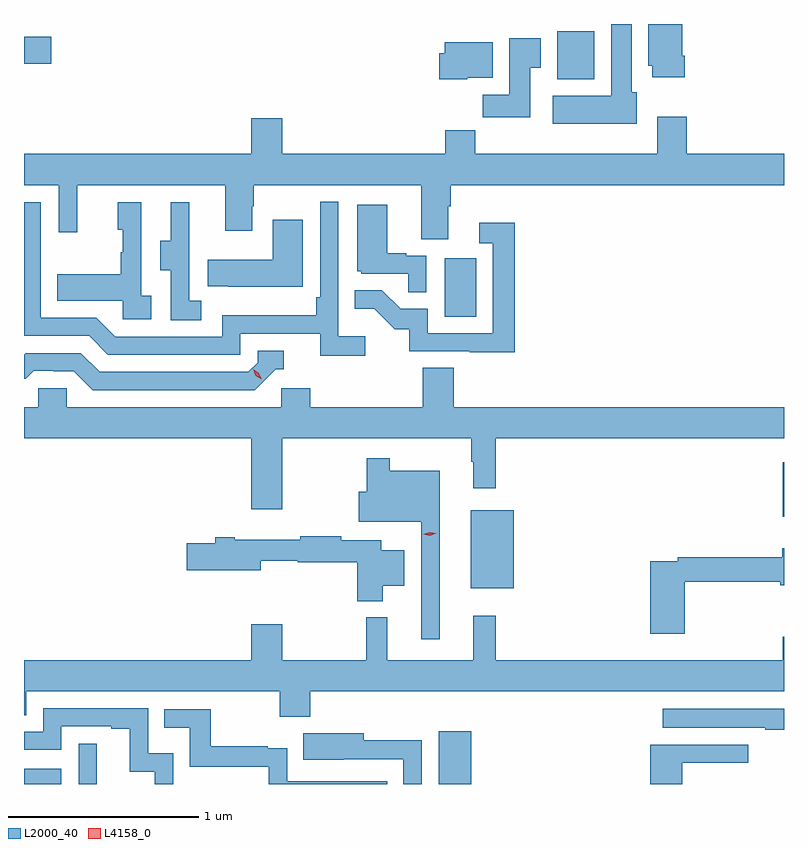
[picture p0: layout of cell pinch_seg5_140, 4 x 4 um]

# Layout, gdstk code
import gdstk
lib = gdstk.Library(unit=1e-6, precision=1e-09)
def R(c, l, rs):  # rectangles x0, y0, x1, y1
    for r in rs: c.add(gdstk.rectangle(r[:2], r[2:], *l))
def P(c, l, *ps):  # polygons
    for p in ps: c.add(gdstk.Polygon(p, *l))
L2000_40 = (2000, 40)
L4158_0 = (4158, 0)

pinch_seg5_140 = lib.new_cell('pinch_seg5_140')
R(pinch_seg5_140, L2000_40, [(1014.961,880.248,1015.158,880.329), (1015.248,880.248,1015.345,880.459), (1017.143,880.248,1017.316,880.525), (1017.311,881.279,1017.538,881.689), (1018.955,881.654,1018.961,881.941), (1017.176,882.708,1017.34,883.015), (1017.767,883.958,1017.963,884.209), (1014.961,884.038,1015.105,884.18)])
P(pinch_seg5_140, L2000_40, [(1018.186,883.89),(1018.159,883.89),(1018.159,884.248),(1018.052,884.248),(1018.052,883.87),(1017.743,883.87),(1017.743,883.724),(1018.186,883.724)],
  [(1018.439,884.08),(1018.426,884.08),(1018.426,884.248),(1018.247,884.248),(1018.247,884.028),(1018.268,884.028),(1018.268,883.968),(1018.439,883.968)],
  [(1017.625,884.017),(1017.682,884.017),(1017.682,884.173),(1017.515,884.173),(1017.515,883.876),(1017.376,883.876),(1017.376,883.758),(1017.625,883.758)],
  [(1017.294,883.964),(1017.427,883.964),(1017.427,884.152),(1017.176,884.152),(1017.176,884.094),(1017.146,884.094),(1017.146,883.958),(1017.294,883.958)],
  [(1017.193,883.288),(1017.206,883.288),(1017.206,883.4),(1018.961,883.4),(1018.961,883.564),(1018.448,883.564),(1018.448,883.759),(1018.295,883.759),(1018.295,883.564),(1017.335,883.564),(1017.335,883.688),(1017.179,883.688),(1017.179,883.564),(1016.32,883.564),(1016.32,883.753),(1016.156,883.753),(1016.156,883.564),(1014.961,883.564),(1014.961,883.4),(1015.143,883.4),(1015.143,883.152),(1015.241,883.152),(1015.241,883.4),(1016.021,883.4),(1016.021,883.161),(1016.161,883.161),(1016.161,883.289),(1016.169,883.289),(1016.169,883.4),(1017.053,883.4),(1017.053,883.114),(1017.193,883.114)],
  [(1016.758,882.604),(1016.616,882.604),(1016.616,883.312),(1016.52,883.312),(1016.52,882.811),(1016.5,882.811),(1016.5,882.715),(1016.004,882.715),(1016.004,882.603),(1015.44,882.603),(1015.341,882.702),(1015.05,882.702),(1015.05,883.311),(1014.961,883.311),(1014.961,882.606),(1015.304,882.606),(1015.403,882.507),(1016.1,882.507),(1016.1,882.618),(1016.519,882.618),(1016.519,882.502),(1016.758,882.502)],
  [(1015.894,882.791),(1015.83,882.791),(1015.83,883.095),(1015.832,883.095),(1015.832,883.309),(1015.733,883.309),(1015.733,883.107),(1015.679,883.107),(1015.679,882.952),(1015.734,882.952),(1015.734,882.688),(1015.894,882.688)],
  [(1015.63,882.818),(1015.578,882.818),(1015.578,883.309),(1015.454,883.309),(1015.454,883.164),(1015.48,883.164),(1015.48,883.046),(1015.47,883.046),(1015.47,882.931),(1015.135,882.931),(1015.135,882.791),(1015.482,882.791),(1015.482,882.693),(1015.63,882.693)],
  [(1017.078,883.029),(1016.972,883.029),(1016.972,883.042),(1016.872,883.042),(1016.872,883.297),(1016.714,883.297),(1016.714,882.948),(1016.736,882.948),(1016.736,882.933),(1016.983,882.933),(1016.983,882.835),(1017.078,882.835)],
  [(1016.428,883.219),(1016.27,883.219),(1016.27,883.006),(1015.927,883.006),(1015.927,882.869),(1016.035,882.869),(1016.035,882.866),(1016.428,882.866)],
  [(1017.545,883.201),(1017.357,883.201),(1017.357,883.095),(1017.429,883.095),(1017.429,882.621),(1017.087,882.621),(1017.087,882.75),(1016.943,882.75),(1016.845,882.848),(1016.701,882.848),(1016.701,882.749),(1016.805,882.749),(1016.912,882.642),(1016.989,882.642),(1016.989,882.525),(1017.307,882.525),(1017.307,882.52),(1017.545,882.52)],
  [(1016.286,882.432),(1016.329,882.432),(1016.329,882.528),(1016.19,882.528),(1016.19,882.465),(1016.142,882.417),(1015.359,882.417),(1015.26,882.516),(1014.971,882.516),(1014.961,882.506),(1014.961,882.381),(1014.971,882.381),(1015.013,882.423),(1015.116,882.423),(1015.116,882.42),(1015.223,882.42),(1015.322,882.321),(1016.175,882.321)],
  [(1016.32,882.068),(1017.315,882.068),(1017.315,881.945),(1017.326,881.945),(1017.326,881.805),(1017.443,881.805),(1017.443,882.068),(1018.961,882.068),(1018.961,882.232),(1017.224,882.232),(1017.224,882.44),(1017.059,882.44),(1017.059,882.232),(1016.468,882.232),(1016.468,882.33),(1016.316,882.33),(1016.316,882.232),(1015.185,882.232),(1015.185,882.33),(1015.035,882.33),(1015.035,882.232),(1014.961,882.232),(1014.961,882.068),(1016.156,882.068),(1016.156,881.694),(1016.32,881.694)],
  [(1017.148,881.896),(1016.887,881.896),(1016.887,881.962),(1016.766,881.962),(1016.766,881.785),(1016.724,881.785),(1016.724,881.627),(1017.051,881.627),(1017.051,881.01),(1017.148,881.01)],
  [(1016.848,881.291),(1016.962,881.291),(1016.962,881.479),(1016.842,881.479),(1016.842,881.532),(1016.63,881.532),(1016.63,881.552),(1016.416,881.552),(1016.416,881.533),(1016.071,881.533),(1016.071,881.546),(1015.967,881.546),(1015.967,881.516),(1015.818,881.516),(1015.818,881.374),(1016.206,881.374),(1016.206,881.424),(1016.402,881.424),(1016.402,881.416),(1016.714,881.416),(1016.714,881.21),(1016.848,881.21)],
  [(1018.439,881.313),(1018.94,881.313),(1018.94,881.294),(1018.961,881.294),(1018.961,881.488),(1018.952,881.488),(1018.952,881.441),(1018.402,881.441),(1018.402,881.421),(1018.256,881.421),(1018.256,881.04),(1018.439,881.04)],
  [(1016.468,880.736),(1018.961,880.736),(1018.961,881.024),(1018.955,881.024),(1018.955,880.9),(1017.443,880.9),(1017.443,881.134),(1017.326,881.134),(1017.326,880.9),(1016.873,880.9),(1016.873,881.125),(1016.763,881.125),(1016.763,880.9),(1016.32,880.9),(1016.32,881.089),(1016.156,881.089),(1016.156,880.9),(1014.961,880.9),(1014.961,880.609),(1014.972,880.609),(1014.972,880.736),(1016.308,880.736),(1016.308,880.601),(1016.468,880.601)],
  [(1015.746,880.411),(1015.614,880.411),(1015.614,880.647),(1015.062,880.647),(1015.062,880.524),(1014.961,880.524),(1014.961,880.428),(1015.158,880.428),(1015.158,880.551),(1015.421,880.551),(1015.421,880.539),(1015.517,880.539),(1015.517,880.313),(1015.65,880.313),(1015.65,880.248),(1015.746,880.248)],
  [(1018.961,880.645),(1018.323,880.645),(1018.323,880.544),(1018.861,880.544),(1018.861,880.534),(1018.961,880.534)],
  [(1016.872,880.263),(1016.346,880.263),(1016.346,880.435),(1016.243,880.435),(1016.243,880.447),(1015.945,880.447),(1015.945,880.641),(1015.699,880.641),(1015.699,880.544),(1015.834,880.544),(1015.834,880.338),(1016.25,880.338),(1016.25,880.248),(1016.872,880.248)],
  [(1017.054,880.478),(1016.749,880.478),(1016.749,880.516),(1016.431,880.516),(1016.431,880.376),(1016.645,880.376),(1016.645,880.377),(1016.958,880.377),(1016.958,880.248),(1017.054,880.248)],
  [(1018.426,880.359),(1018.774,880.359),(1018.774,880.455),(1018.256,880.455),(1018.256,880.248),(1018.426,880.248)])
P(pinch_seg5_140, L4158_0, [(1016.212,882.379),(1016.182,882.398),(1016.167,882.431),(1016.167,882.431),(1016.167,882.431),(1016.197,882.411),(1016.213,882.379),(1016.213,882.379)],
  [(1017.097,881.554),(1017.061,881.562),(1017.061,881.562),(1017.061,881.562),(1017.096,881.574),(1017.132,881.567),(1017.132,881.567),(1017.132,881.567)])

lib.write_gds('pinch_seg5_140.gds')
